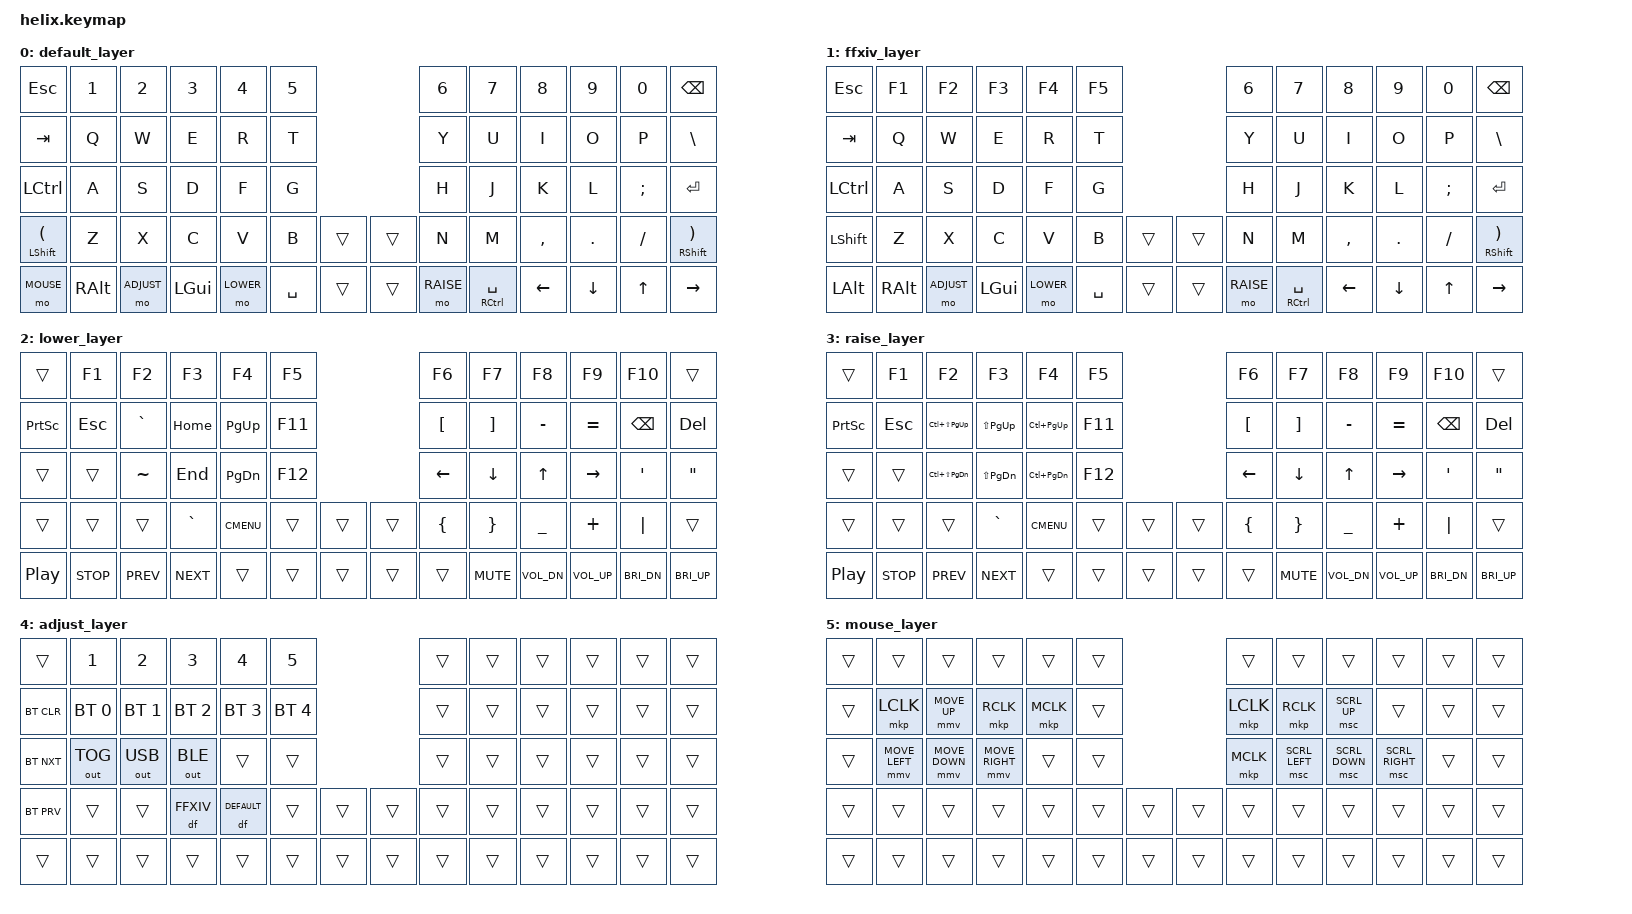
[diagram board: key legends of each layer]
/*
 * Copyright (c) 2020 The ZMK Contributors
 *
 * SPDX-License-Identifier: MIT
 */

 #include <behaviors.dtsi>
 #include <dt-bindings/zmk/keys.h>
 #include <dt-bindings/zmk/bt.h>
 #include <dt-bindings/zmk/rgb.h>
 #include <dt-bindings/zmk/ext_power.h>
 #include <dt-bindings/zmk/outputs.h>
 #include <dt-bindings/zmk/pointing.h>

 #include "elpekenin/behaviors.dtsi"

 #define DEFAULT 0
 #define FFXIV  1
 #define LOWER  2
 #define RAISE  3
 #define ADJUST 4
 #define MOUSE  5

/* NOTE: At the time of the creation of this keymap, there are no specified codes for 'eisuu' and 'kana' input in ZMK.
However, 'LANG1' and 'LANG2' are fully-functioning candidates for 'kana' and 'eisuu' input respectively.
As such, those are in use within the default layer at this time.*/

/ {
       keymap {
              compatible = "zmk,keymap";
 
              default_layer {
 // ---------------------------------------------------------------------------------------------------------------------------------
 // |  ESC   |   1    |   2    |   3    |   4    |   5    |                                      |   6    |   7    |   8    |   9    |   0    |  BSPC  |
 // |  TAB   |   Q    |   W    |   E    |   R    |   T    |                                      |   Y    |   U    |   I    |   O    |   P    |   \    |
 // |  CTRL  |   A    |   S    |   D    |   F    |   G    |                                      |   H    |   J    |   K    |   L    |   ;    |  RET   |
 // |  SHIFT(|   Z    |   X    |   C    |   V    |   B    |        |                    |        |   N    |   M    |   ,    |   .    |   /    |  SHIFT)|
 // |  MOUSE |  RALT  | ADJUST |  LGUI  | LOWER  | SPACE  |        |                    |        | RAISE  | SpCtrl |  LEFT  |  DOWN  |  UP    |  RIGHT |
                     bindings = <
       &kp ESC    &kp N1  &kp N2   &kp N3   &kp N4    &kp N5                               &kp N6    &kp N7    &kp N8    &kp N9     &kp N0    &kp BSPC
       &kp TAB    &kp Q   &kp W    &kp E    &kp R     &kp T                                &kp Y     &kp U     &kp I     &kp O      &kp P     &kp BSLH
       &kp LCTRL  &kp A   &kp S    &kp D    &kp F     &kp G                                &kp H     &kp J     &kp K     &kp L      &kp SEMI  &kp RET
       &mt LSHFT LPAR &kp Z   &kp X    &kp C    &kp V     &kp B     &trans         &trans  &kp N     &kp M     &kp COMMA &kp PERIOD &kp SLASH &mt RSHFT RPAR
       &mo MOUSE  &kp RALT &mo ADJUST &kp LGUI &mo LOWER &kp SPACE &trans        &trans &mo RAISE &mt RCTRL SPACE &kp LEFT  &kp DOWN   &kp UP    &kp RIGHT
                     >;
              };

              ffxiv_layer {
 // ---------------------------------------------------------------------------------------------------------------------------------
 // |  ESC   |   F1   |   F2   |   F3   |   F4   |   F5   |                                      |   6    |   7    |   8    |   9    |   0    |  BSPC  |
 // |  TAB   |   Q    |   W    |   E    |   R    |   T    |                                      |   Y    |   U    |   I    |   O    |   P    |   \    |
 // |  CTRL  |   A    |   S    |   D    |   F    |   G    |                                      |   H    |   J    |   K    |   L    |   ;    |  RET   |
 // |  SHIFT |   Z    |   X    |   C    |   V    |   B    |        |                    |        |   N    |   M    |   ,    |   .    |   /    |  SHIFT)|
 // |  LALT  |  RALT  | ADJUST |  LGUI  | LOWER  | SPACE  |        |                    |        | RAISE  | SpCtrl |  LEFT  |  DOWN  |  UP    |  RIGHT |
                     bindings = <
       &kp ESC    &kp F1  &kp F2   &kp F3   &kp F4    &kp F5                               &kp N6    &kp N7    &kp N8    &kp N9     &kp N0    &kp BSPC
       &kp TAB    &kp Q   &kp W    &kp E    &kp R     &kp T                                &kp Y     &kp U     &kp I     &kp O      &kp P     &kp BSLH
       &kp LCTRL  &kp A   &kp S    &kp D    &kp F     &kp G                                &kp H     &kp J     &kp K     &kp L      &kp SEMI  &kp RET
       &kp LSHFT &kp Z   &kp X    &kp C    &kp V     &kp B     &trans         &trans  &kp N     &kp M     &kp COMMA &kp PERIOD &kp SLASH &mt RSHFT RPAR
       &kp LALT   &kp RALT &mo ADJUST &kp LGUI &mo LOWER &kp SPACE &trans        &trans &mo RAISE &mt RCTRL SPACE &kp LEFT  &kp DOWN   &kp UP    &kp RIGHT
                     >;
              };

              lower_layer {
 // ---------------------------------------------------------------------------------------------------------------------------------
 // |      |  F1  |  F2  |  F3  |  F4  |  F5  |                                  |  F6  |  F7  |  F8  |  F9  |  F10 |      |
 // |PrtScr| ESC  |  `   | HOME | PgUp |  F11 |                                  |  [   |  ]   |  -   |  =   | BKSP | DEL  |
 // |      |      |  ~   | END  | PgDn |  F12 |                                  | LEFT | DOWN |  UP  |RIGHT |  '   |  "   |
 // |      |      |      |  `   | Menu |      |      |                    |      |  {   |  }   |  _   |  +   |  |   |      |
 // | Play | Stop | Prev | Next |      |      |      |                    |      |      | Mute | Vol- | Vol+ | Bri- | Bri+ |
                     bindings = <
       &trans    &kp F1   &kp F2     &kp F3    &kp F4      &kp F5                     &kp F6    &kp F7     &kp F8       &kp F9       &kp F10   &trans
       &kp PSCRN &kp ESC  &kp GRAVE  &kp HOME  &kp PG_UP   &kp F11                    &kp LBKT  &kp RBKT   &kp MINUS    &kp EQUAL    &kp BSPC  &kp DEL
       &trans    &trans   &kp TILDE &kp END   &kp PG_DN   &kp F12                    &kp LEFT  &kp DOWN   &kp UP       &kp RIGHT    &kp SQT   &kp DQT
       &trans    &trans   &trans     &kp GRAVE &kp K_CMENU &trans &trans       &trans &kp LBRC  &kp RBRC   &kp UNDER    &kp PLUS     &kp PIPE  &trans
       &kp C_PP  &kp C_STOP &kp C_PREV &kp C_NEXT &trans   &trans &trans       &trans &trans    &kp C_MUTE &kp C_VOL_DN &kp C_VOL_UP &kp C_BRI_DN &kp C_BRI_UP
                     >;
              };

              raise_layer {
 // ---------------------------------------------------------------------------------------------------------------------------------
 // |      |  F1  |  F2  |  F3  |  F4  |  F5  |                                  |  F6  |  F7  |  F8  |  F9  |  F10 |      |
 // |PrtScr| ESC  |CSPgUp|SPgUp |CPgUp |  F11 |                                  |  [   |  ]   |  -   |  =   | BKSP | DEL  |
 // |      |      |CSPgDn|SPgDn |CPgDn |  F12 |                                  | LEFT | DOWN |  UP  |RIGHT |  '   |  "   |
 // |      |      |      |  `   | Menu |      |      |                    |      |  {   |  }   |  _   |  +   |  |   |      |
 // | Play | Stop | Prev | Next |      |      |      |                    |      |      | Mute | Vol- | Vol+ | Bri- | Bri+ |
                     bindings = <
       &trans    &kp F1   &kp F2     &kp F3    &kp F4      &kp F5                     &kp F6    &kp F7     &kp F8       &kp F9       &kp F10   &trans
       &kp PSCRN &kp ESC  &kp LC(LS(PG_UP)) &kp LS(PG_UP) &kp LC(PG_UP)   &kp F11     &kp LBKT  &kp RBKT   &kp MINUS    &kp EQUAL    &kp BSPC  &kp DEL
       &trans    &trans   &kp LC(LS(PG_DN)) &kp LS(PG_DN) &kp LC(PG_DN)   &kp F12     &kp LEFT  &kp DOWN   &kp UP       &kp RIGHT    &kp SQT   &kp DQT
       &trans    &trans   &trans     &kp GRAVE &kp K_CMENU &trans &trans       &trans &kp LBRC  &kp RBRC   &kp UNDER    &kp PLUS     &kp PIPE  &trans
       &kp C_PP  &kp C_STOP &kp C_PREV &kp C_NEXT &trans   &trans &trans       &trans &trans    &kp C_MUTE &kp C_VOL_DN &kp C_VOL_UP &kp C_BRI_DN &kp C_BRI_UP
                     >;
              };

              adjust_layer {
 // ---------------------------------------------------------------------------------------------------------------------------------
 // |          |          |          |          |          |          |                                          |          |          |          |          |          |          |
 // |  BT CLR  | BT SEL0  | BT SEL1  | BT SEL2  | BGT SEL3 | BT SEL4  |                                          |          |          |          |          |          |          |
 // |  BT NXT  | OUT TOG  | OUT USB  | OUT BLE  |          |          |                                          |          |          |          |          |          |          |
 // |  BT PRV  |          |          | FFXIV    | DEFAULT  |          |          |                    |          |          |          |          |          |          |          |
 // |          |          |          |          |          |          |          |                    |          |          |          |          |          |          |          |
                     bindings = <
       &trans     &kp N1       &kp N2       &kp N3       &kp N4       &kp N5                                &trans &trans &trans &trans &trans &trans
       &bt BT_CLR &bt BT_SEL 0 &bt BT_SEL 1 &bt BT_SEL 2 &bt BT_SEL 3 &bt BT_SEL 4                          &trans &trans &trans &trans &trans &trans
       &bt BT_NXT &out OUT_TOG &out OUT_USB &out OUT_BLE &trans       &trans                                &trans &trans &trans &trans &trans &trans
       &bt BT_PRV &trans       &trans       &df FFXIV    &df DEFAULT  &trans       &trans          &trans   &trans &trans &trans &trans &trans &trans
       &trans     &trans       &trans       &trans       &trans       &trans       &trans          &trans   &trans &trans &trans &trans &trans &trans
                     >;
              };

              mouse_layer {
 // ---------------------------------------------------------------------------------------------------------------------------------
 // |          |          |          |          |          |          |                                          |          |          |          |          |          |          |
 // |          | L CLICK  | MOUSE UP | R CLICK  | M CLICK  |          |                                          | L CLICK  | R CLICK  | WHEEL UP |          |          |          |
 // |          | MOUSE LF | MOUSE DN | MOUSE RT |          |          |                                          | M CLICK  | WHEEL LF | WHEEL DN | WHEEN RT |          |          |
 // |          |          |          |          |          |          |          |                    |          |          |          |          |          |          |          |
 // |          |          |          |          |          |          |          |                    |          |          |          |          |          |          |          |
                     bindings = <
       &trans     &trans         &trans         &trans          &trans       &trans                                &trans          &trans          &trans          &trans          &trans          &trans
       &trans     &mkp LCLK      &mmv MOVE_UP   &mkp RCLK       &mkp MCLK    &trans                                &mkp LCLK       &mkp RCLK       &msc SCRL_UP    &trans          &trans          &trans 
       &trans     &mmv MOVE_LEFT &mmv MOVE_DOWN &mmv MOVE_RIGHT &trans       &trans                                &mkp MCLK       &msc SCRL_LEFT  &msc SCRL_DOWN  &msc SCRL_RIGHT &trans          &trans
       &trans     &trans         &trans         &trans          &trans       &trans       &trans          &trans   &trans          &trans          &trans          &trans          &trans          &trans
       &trans     &trans         &trans         &trans          &trans       &trans       &trans          &trans   &trans          &trans          &trans          &trans          &trans          &trans
                     >;
              };
       };
};
